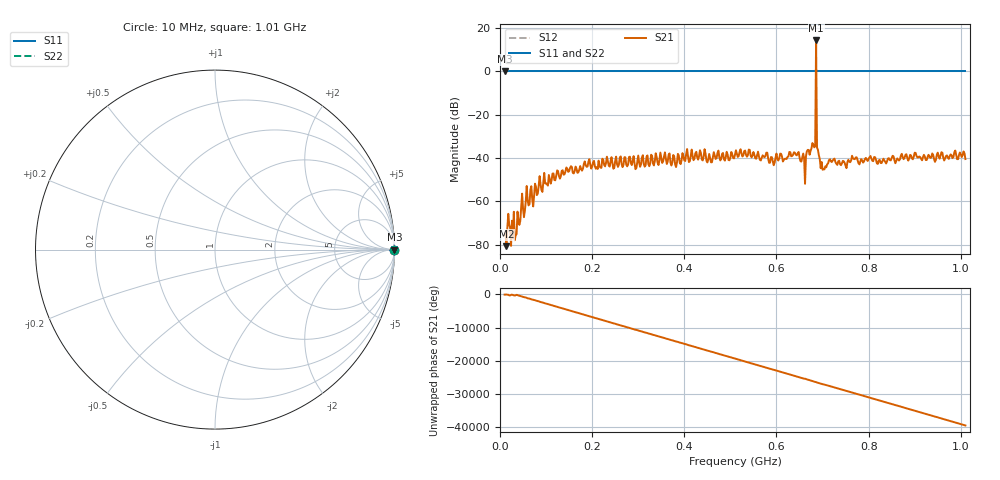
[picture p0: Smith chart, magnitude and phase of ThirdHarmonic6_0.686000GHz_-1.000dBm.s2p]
! 8/15/2025 10:54:16 PM
! C:\ANRITSUVNA\TEMP\TEMP.S2P
! CHANNEL.1
! TR.MEASUREMENT
! RAW.DATA
! RF.CORRECTION.OFF
! AVERAGING.OFF
! IF.BANDWIDTH: 5KHZ
! SWEEPTYPE:  FREQ.SWEEP(Linear)
! Reference Plane Port Info
! PORT:  PORT1  PORT2
! DISTANCE:  0  m  0  m
! TIME:  0  s  0  s
! PHASE.OFFSET:  0  deg.  0  deg.
! LOSS:  0  dB  0  dB
! REF.LOSS:  0  dB  0  dB
! REF.FREQ:  0  Hz  0  Hz
! Power Info
! POWER:  -20  dBm  -20  dBm
! EFF.POWER:  -20  dBm  -20  dBm
! SOURCE.ATTEN:  0  dB  0  dB
! TEST.ATTEN:  0  dB  0  dB
# GHZ S RI R 50.0
! FREQ.GHZ  S11RE  S11IM  S21RE  S21IM  S12RE  S12IM  S22RE  S22IM
!; PortSelection: Port_12
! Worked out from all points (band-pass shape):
!   501 points, 10 MHz to 1.01 GHz, reference 50 ohm
!   highest |S21| = 14.30 dB at 686 MHz (marker M1); lowest = -80.8 dB at 14 MHz (marker M2)
!   |S21| within 3 dB of the highest: 685.8774 MHz to 686.1212 MHz (243.8 kHz wide, 0.0355 % of centre)
!   lowest |S11| = 0.0 dB at 10 MHz (marker M3)
!   |S11| at or under -10 dB: nowhere
!   |S22| runs from 0.0 to 0.0 dB; largest |S21 - S12| = 5.6
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0.01  1 0  2.28e-05 -0.000165  1 0  1 0
0.014  1 0  4.82e-05 -7.78e-05  1 0  1 0
0.022  1 0  0.000223 0.000103  1 0  1 0
0.032  1 0  0.000125 -1.44e-05  1 0  1 0
0.062  1 0  -0.000707 -0.000383  1 0  1 0
0.098  1 0  -0.00245 0.000802  1 0  1 0
0.178  1 0  -0.00508 -0.000141  1 0  1 0
0.344  1 0  0.00602 -0.00331  1 0  1 0
0.51  1 0  -0.00955 0.00713  1 0  1 0
0.594  1 0  0.00668 -0.00126  1 0  1 0
0.644  1 0  -0.00837 0.00785  1 0  1 0
0.658  1 0  0.00619 -0.011  1 0  1 0
0.678  1 0  -0.0198 -0.00973  1 0  1 0
0.68  1 0  -0.00727 0.0186  1 0  1 0
0.682  1 0  0.0151 0.00903  1 0  1 0
0.686  1 0  -1.925 -4.816  1 0  1 0
0.69  1 0  0.0128 0.00858  1 0  1 0
0.692  1 0  0.00791 -0.00835  1 0  1 0
0.704  1 0  -0.00411 -0.00356  1 0  1 0
0.722  1 0  -0.00484 -0.0072  1 0  1 0
0.844  1 0  0.0092 0.00353  1 0  1 0
1.01  1 0  -0.00939 0.00101  1 0  1 0
